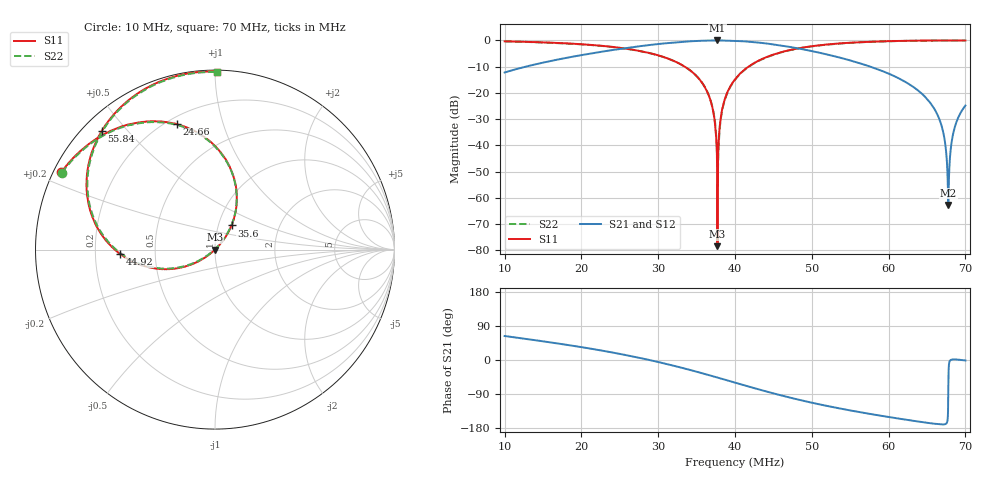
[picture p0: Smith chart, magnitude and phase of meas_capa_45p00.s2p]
#  HZ  S  RI  R  50.00
! Rohde & Schwarz ZVT8 8Ports - Version 4.11 - 1300.0000k08 SN: 100242
! Date: 2026-07-13 13:56:20
! Measurements: S11 S21 S12 S22
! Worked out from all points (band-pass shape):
!   3001 points, 10 MHz to 70 MHz, reference 50 ohm
!   highest |S21| = -0.05 dB at 37.72 MHz (marker M1); lowest = -62.7 dB at 67.78 MHz (marker M2)
!   |S21| within 3 dB of the highest: 25.58 MHz to 48.17 MHz (22.59 MHz wide, 61.3 % of centre)
!   lowest |S11| = -78.4 dB at 37.72 MHz (marker M3), VSWR 1.00, Z = 50 - j0.000818 ohm
!   |S11| at or under -10 dB: 33.43 MHz to 41.77 MHz (8.336 MHz wide, 22.2 % of centre)
!   |S22| runs from -55.6 to -0.1 dB; largest |S21 - S12| = 0.0017
!   S11 on the Smith chart (normalised r, x): 10 MHz: 0.02, +0.24; 24.66 MHz: 0.24, +0.71; 35.6 MHz: 1.16, +0.32; 44.92 MHz: 0.31, -0.02; 55.84 MHz: 0.05, +0.43; 70 MHz: 0.01, +1.01
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1e7  -0.8552 0.4308  0.1093 0.2174  0.1096 0.2172  -0.8527 0.4278
2e7  -0.4671 0.7005  0.434 0.2911  0.4336 0.2905  -0.4661 0.6967
2.466e7  -0.214 0.6989  0.6426 0.2014  0.642 0.201  -0.2143 0.6947
3e7  0.0515 0.515  0.8455 -0.0784  0.8454 -0.0787  0.0498 0.5129
3.56e7  0.0925 0.1346  0.8102 -0.5512  0.81 -0.5513  0.092 0.1369
3.698e7  0.0393 0.0426  0.7366 -0.6649  0.7365 -0.6644  0.0387 0.0461
3.73e7  0.0229 0.0251  0.7155 -0.689  0.7157 -0.6883  0.0232 0.0265
3.752e7  0.0116 0.0116  0.7004 -0.7049  0.7004 -0.7047  0.0116 0.0138
3.772e7  0.000119 -8.17e-06  0.6863 -0.7192  0.6863 -0.7185  0.000394 0.00337
3.794e7  -0.0125 -0.0119  0.6697 -0.7338  0.6697 -0.7339  -0.0129 -0.00897
3.816e7  -0.0263 -0.0231  0.6531 -0.7483  0.6527 -0.7478  -0.0261 -0.0193
3.854e7  -0.051 -0.0407  0.6225 -0.772  0.6224 -0.7716  -0.0499 -0.0375
4e7  -0.1557 -0.0907  0.4935 -0.8433  0.4934 -0.8434  -0.1535 -0.0877
4.492e7  -0.5297 -0.024  0.035 -0.8386  0.0348 -0.8387  -0.5248 -0.0212
5e7  -0.7116 0.2971  -0.2398 -0.5754  -0.2402 -0.5751  -0.7067 0.2967
5.584e7  -0.6308 0.6614  -0.2745 -0.2644  -0.2745 -0.2644  -0.6267 0.66
6e7  -0.4704 0.8415  -0.2017 -0.1148  -0.2017 -0.1146  -0.4661 0.8394
6.586e7  -0.1911 0.973  -0.051 -0.0109  -0.051 -0.0109  -0.1872 0.9699
6.702e7  -0.134 0.9836  -0.0199 -0.00348  -0.0199 -0.00348  -0.13 0.9809
6.778e7  -0.0972 0.9883  0.000264 -0.000683  0.000262 -0.000683  -0.0931 0.9856
6.86e7  -0.0575 0.9913  0.0217 0.000577  0.0217 0.000584  -0.0528 0.9886
7e7  0.00932 0.9917  0.0572 -0.0012  0.0572 -0.00119  0.0136 0.9892
